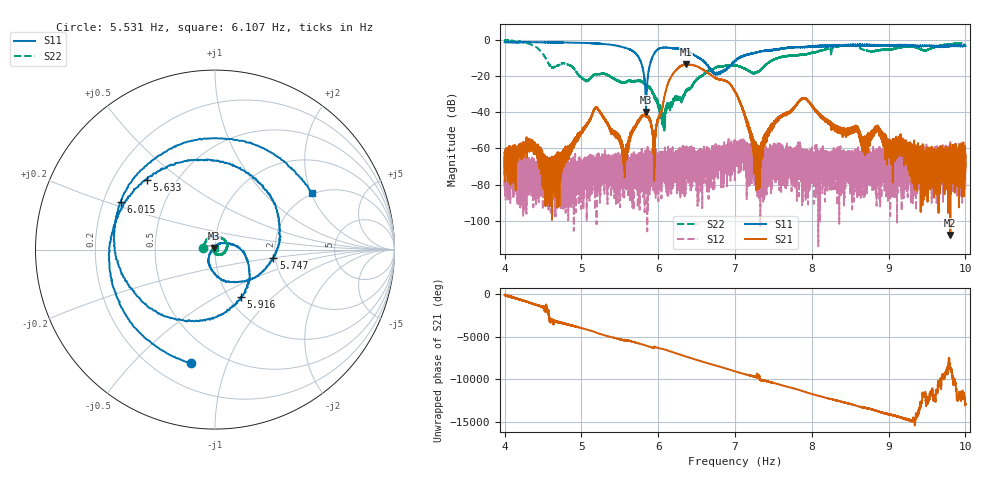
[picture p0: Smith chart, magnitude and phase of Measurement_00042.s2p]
!Created with skrf (http://scikit-rf.org).
# Hz S RI R 50.0
!freq ReS11 ImS11 ReS21 ImS21 ReS12 ImS12 ReS22 ImS22
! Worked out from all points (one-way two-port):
!   14001 points, 4 Hz to 10 Hz, reference 50 ohm
!   highest |S21| = -13.36 dB at 6.361 Hz (marker M1); lowest = -108.0 dB at 9.803 Hz (marker M2)
!   lowest |S11| = -39.8 dB at 5.842 Hz (marker M3), VSWR 1.02, Z = 49.4 + j0.827 ohm
!   |S11| at or under -10 dB: 5.751 Hz to 5.92 Hz (168.4 mHz wide, 2.89 % of centre); 6.535195 Hz to 6.535678 Hz (483.1 uHz wide, 0.00739 % of centre); 6.536 Hz to 7.049 Hz (513.3 mHz wide, 7.56 % of centre) (the widest 3 of 5)
!   |S22| runs from -50.1 to -0.2 dB; largest |S21 - S12| = 0.22
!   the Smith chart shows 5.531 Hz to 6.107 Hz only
!   S11 on the Smith chart (normalised r, x): 5.531 Hz: 0.35, -0.75; 5.633 Hz: 0.34, +0.38; 5.747 Hz: 1.95, -0.20; 5.916 Hz: 1.13, -0.66; 6.015 Hz: 0.27, +0.22; 6.107 Hz: 1.97, +2.02
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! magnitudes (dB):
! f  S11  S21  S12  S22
! 4 Hz  -1.1  -64.6  -75.9  -0.2
! 4.348 Hz  -1.1  -57.3  -71.3  -2.5
! 4.59 Hz  -1.3  -70.3  -77.4  -14.0
! 5 Hz  -1.5  -51.1  -69.6  -20.7
! 5.2 Hz  -1.9  -37.4  -72.3  -18.8
! 5.531 Hz  -3.8  -59.4  -64.8  -23.5
! 5.633 Hz  -5.3  -54.4  -76.6  -22.5
! 5.747 Hz  -9.7  -44.2  -67.0  -22.7
! 5.842 Hz  -39.8  -41.8  -71.0  -25.1
! 5.916 Hz  -10.4  -48.4  -67.9  -28.0
! 6 Hz  -4.9  -43.5  -67.1  -34.7
! 6.015 Hz  -4.6  -42.3  -76.5  -37.8
! 6.107 Hz  -4.1  -26.7  -65.8  -38.7
! 6.361 Hz  -5.9  -13.4  -71.2  -28.1
! 6.749 Hz  -19.0  -21.1  -69.0  -15.2
! 7 Hz  -11.4  -28.6  -56.6  -14.1
! 7.295 Hz  -6.6  -64.6  -66.4  -17.4
! 7.564 Hz  -4.9  -43.0  -66.8  -9.8
! 8 Hz  -3.7  -36.1  -70.8  -6.9
! 9 Hz  -3.0  -56.2  -63.1  -5.0
! 9.803 Hz  -2.8  -108.0  -75.7  -2.3
! 10 Hz  -3.3  -72.8  -61.4  -3.1
